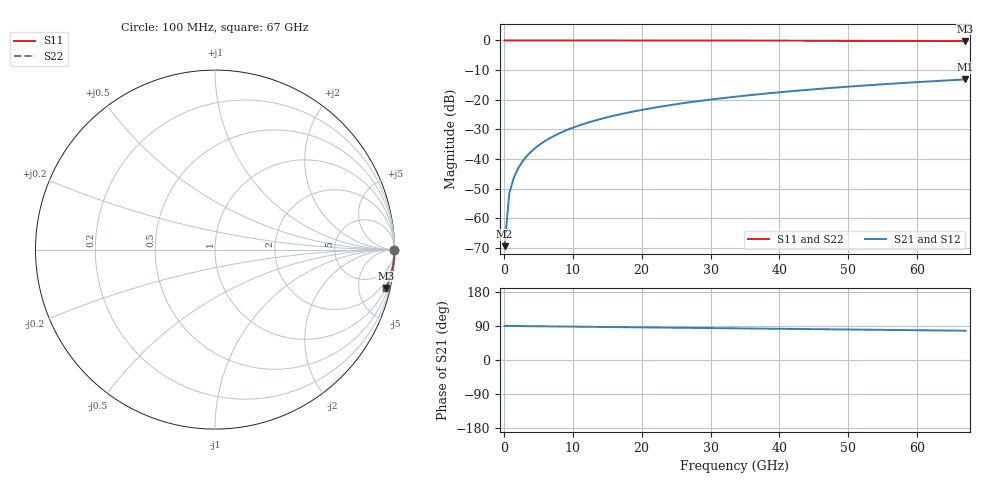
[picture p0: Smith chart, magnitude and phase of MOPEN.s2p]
! Touchstone Ver. 1.0
! Number of ports is 2
# Hz  S RI  R  50
! SCATTERING PARAMETERS  :
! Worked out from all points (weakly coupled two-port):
!   101 points, 100 MHz to 67 GHz, reference 50 ohm
!   highest |S21| = -13.16 dB at 67 GHz (marker M1); lowest = -69.5 dB at 100 MHz (marker M2)
!   lowest |S11| = -0.2 dB at 67 GHz (marker M3), VSWR 80.72, Z = 50 - j444 ohm
!   |S11| at or under -10 dB: nowhere
!   |S22| runs from -0.2 to 0.0 dB; largest |S21 - S12| = 0
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1e8  1 -0.000336  1.13e-07 0.000336  1.13e-07 0.000336  1 -0.000336
7.69e8  1 -0.00259  6.69e-06 0.00259  6.69e-06 0.00259  1 -0.00259
1.438e9  1 -0.00484  2.34e-05 0.00484  2.34e-05 0.00484  1 -0.00484
2.107e9  0.9999 -0.00709  5.02e-05 0.00709  5.02e-05 0.00709  0.9999 -0.00709
2.776e9  0.9999 -0.00934  8.72e-05 0.00934  8.72e-05 0.00934  0.9999 -0.00934
3.445e9  0.9999 -0.0116  0.000134 0.0116  0.000134 0.0116  0.9999 -0.0116
4.114e9  0.9998 -0.0138  0.000192 0.0138  0.000192 0.0138  0.9998 -0.0138
5.452e9  0.9997 -0.0183  0.000336 0.0183  0.000336 0.0183  0.9997 -0.0183
6.79e9  0.9995 -0.0228  0.000522 0.0228  0.000522 0.0228  0.9995 -0.0228
8.128e9  0.9993 -0.0273  0.000747 0.0273  0.000747 0.0273  0.9993 -0.0273
9.466e9  0.999 -0.0318  0.00101 0.0318  0.00101 0.0318  0.999 -0.0318
1.1473e10  0.9985 -0.0385  0.00149 0.0385  0.00149 0.0385  0.9985 -0.0385
1.4149e10  0.9977 -0.0475  0.00226 0.0475  0.00226 0.0475  0.9977 -0.0475
1.6825e10  0.9968 -0.0564  0.00319 0.0564  0.00319 0.0564  0.9968 -0.0564
1.9501e10  0.9957 -0.0653  0.00429 0.0653  0.00429 0.0653  0.9957 -0.0653
2.2846e10  0.9941 -0.0764  0.00587 0.0764  0.00587 0.0764  0.9941 -0.0764
2.7529e10  0.9915 -0.0918  0.0085 0.0918  0.0085 0.0918  0.9915 -0.0918
3.355e10  0.9874 -0.1115  0.0126 0.1115  0.0126 0.1115  0.9874 -0.1115
3.8902e10  0.9832 -0.1287  0.0168 0.1287  0.0168 0.1287  0.9832 -0.1287
4.4923e10  0.9777 -0.1478  0.0223 0.1478  0.0223 0.1478  0.9777 -0.1478
5.6296e10  0.9654 -0.1828  0.0346 0.1828  0.0346 0.1828  0.9654 -0.1828
6.7e10  0.9516 -0.2145  0.0484 0.2145  0.0484 0.2145  0.9516 -0.2145
